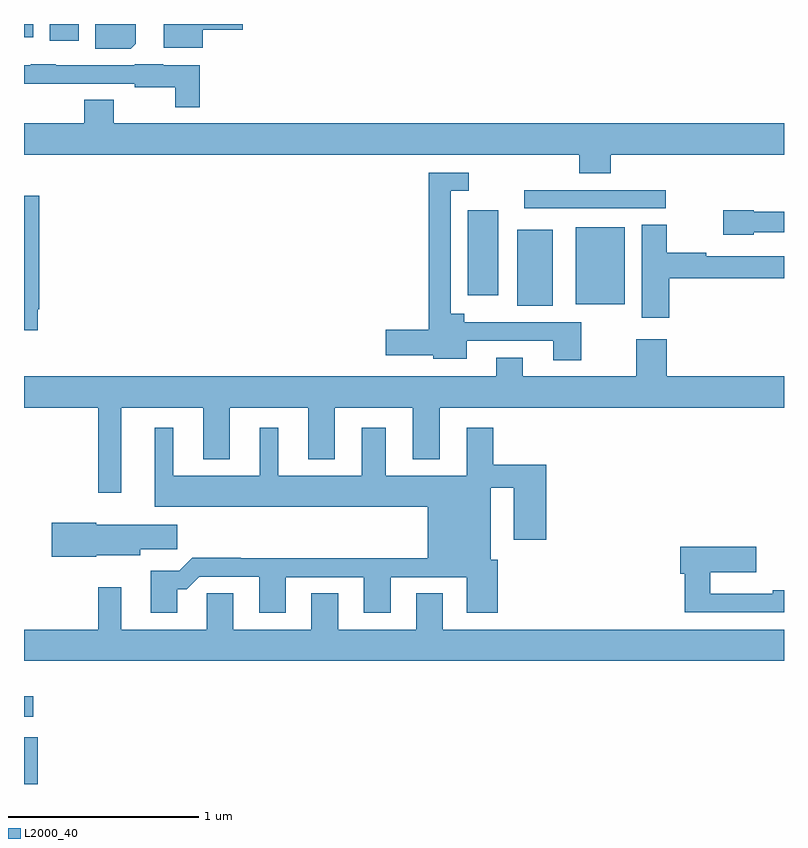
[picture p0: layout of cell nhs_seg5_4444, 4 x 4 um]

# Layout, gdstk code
import gdstk
lib = gdstk.Library(unit=1e-6, precision=1e-09)
def R(c, l, rs):  # rectangles x0, y0, x1, y1
    for r in rs: c.add(gdstk.rectangle(r[:2], r[2:], *l))
def P(c, l, *ps):  # polygons
    for p in ps: c.add(gdstk.Polygon(p, *l))
L2000_40 = (2000, 40)

nhs_seg5_4444 = lib.new_cell('nhs_seg5_4444')
R(nhs_seg5_4444, L2000_40, [(373,834.799,373.072,835.045), (373,835.154,373.048,835.262), (375.596,837.317,375.784,837.715), (375.905,837.323,376.162,837.73), (375.335,837.372,375.496,837.82), (375.633,837.828,376.378,837.924), (373.136,838.71,373.288,838.799), (373,838.728,373.048,838.799)])
P(nhs_seg5_4444, L2000_40, [(373.942,838.769),(374.152,838.769),(374.152,838.799),(373.736,838.799),(373.736,838.673),(373.942,838.673)],
  [(373.588,838.696),(373.588,838.799),(373.376,838.799),(373.376,838.67),(373.562,838.67)],
  [(373.925,838.582),(373.734,838.582),(373.734,838.588),(373.584,838.588),(373.584,838.581),(373.167,838.581),(373.167,838.588),(373.035,838.588),(373.035,838.582),(373,838.582),(373,838.484),(373.167,838.484),(373.167,838.485),(373.584,838.485),(373.584,838.466),(373.797,838.466),(373.797,838.361),(373.925,838.361)],
  [(376.088,838.112),(377,838.112),(377,838.276),(373.473,838.276),(373.473,838.4),(373.318,838.4),(373.318,838.276),(373,838.276),(373,838.112),(375.923,838.112),(375.923,838.013),(376.088,838.013)],
  [(375.933,837.228),(375.316,837.228),(375.316,837.274),(375.246,837.274),(375.246,837.921),(375.34,837.921),(375.34,838.017),(375.13,838.017),(375.13,837.191),(374.904,837.191),(374.904,837.056),(375.153,837.056),(375.153,837.038),(375.331,837.038),(375.331,837.132),(375.785,837.132),(375.785,837.03),(375.933,837.03)],
  [(373.072,837.298),(373.079,837.298),(373.079,837.896),(373,837.896),(373,837.186),(373.072,837.186)],
  [(376.842,837.702),(377,837.702),(377,837.811),(376.842,837.811),(376.842,837.819),(376.68,837.819),(376.68,837.689),(376.842,837.689)],
  [(376.397,837.46),(377,837.46),(377,837.576),(376.592,837.576),(376.592,837.596),(376.384,837.596),(376.384,837.743),(376.25,837.743),(376.25,837.252),(376.397,837.252)],
  [(373.513,836.78),(373.943,836.78),(373.943,836.507),(374.083,836.507),(374.083,836.78),(374.495,836.78),(374.495,836.507),(374.635,836.507),(374.635,836.78),(375.047,836.78),(375.047,836.507),(375.187,836.507),(375.187,836.78),(377,836.78),(377,836.944),(376.382,836.944),(376.382,837.139),(376.222,837.139),(376.222,836.944),(375.625,836.944),(375.625,837.043),(375.485,837.043),(375.485,836.944),(373,836.944),(373,836.78),(373.392,836.78),(373.392,836.331),(373.513,836.331)],
  [(373.807,835.823),(373.856,835.823),(373.923,835.89),(374.237,835.89),(374.237,835.701),(374.377,835.701),(374.377,835.887),(374.789,835.887),(374.789,835.701),(374.929,835.701),(374.929,835.887),(375.329,835.887),(375.329,835.701),(375.494,835.701),(375.494,835.98),(375.457,835.98),(375.457,836.358),(375.578,836.358),(375.578,836.085),(375.749,836.085),(375.749,836.479),(375.47,836.479),(375.47,836.674),(375.329,836.674),(375.329,836.422),(374.905,836.422),(374.905,836.674),(374.777,836.674),(374.777,836.422),(374.338,836.422),(374.338,836.674),(374.24,836.674),(374.24,836.422),(373.786,836.422),(373.786,836.674),(373.688,836.674),(373.688,836.258),(375.125,836.258),(375.125,835.988),(374.141,835.988),(374.141,835.991),(373.886,835.991),(373.816,835.921),(373.667,835.921),(373.667,835.701),(373.807,835.701)],
  [(373.38,836.003),(373.612,836.003),(373.612,836.035),(373.807,836.035),(373.807,836.164),(373.38,836.164),(373.38,836.174),(373.146,836.174),(373.146,835.996),(373.38,835.996)],
  [(377,835.82),(376.942,835.82),(376.942,835.8),(376.613,835.8),(376.613,835.913),(376.855,835.913),(376.855,836.048),(376.454,836.048),(376.454,835.906),(376.477,835.906),(376.477,835.704),(377,835.704)],
  [(377,835.612),(375.205,835.612),(375.205,835.802),(375.065,835.802),(375.065,835.612),(374.653,835.612),(374.653,835.802),(374.513,835.802),(374.513,835.612),(374.101,835.612),(374.101,835.802),(373.962,835.802),(373.962,835.612),(373.513,835.612),(373.513,835.834),(373.392,835.834),(373.392,835.612),(373,835.612),(373,835.448),(377,835.448)])

lib.write_gds('nhs_seg5_4444.gds')
